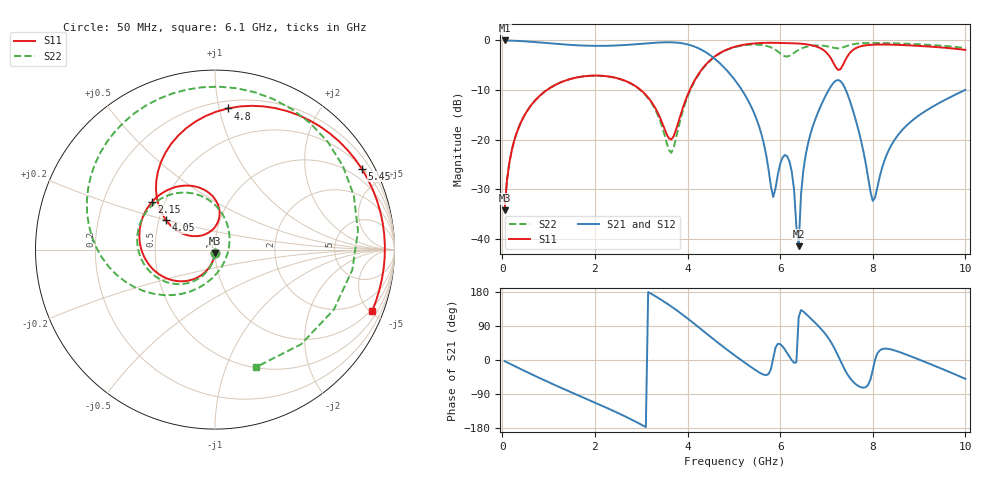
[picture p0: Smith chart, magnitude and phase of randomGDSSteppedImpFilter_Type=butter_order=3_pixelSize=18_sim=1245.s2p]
! freq	dB(S11)	phase(S11)	dB(S12)	phase(S12)
!  dB(S21)	phase(S21)	dB(S22)	phase(S22)
!S-par simulation data
#  GHz  S  DB  R 50
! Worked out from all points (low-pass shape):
!   200 points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, 50 MHz to 10 GHz, reference 50 ohm
!   highest |S21| = -0.01 dB at 50 MHz (marker M1); lowest = -41.5 dB at 6.4 GHz (marker M2)
!   |S21| within 3 dB of the highest: start of sweep to 4.493 GHz
!   lowest |S11| = -34.3 dB at 50 MHz (marker M3), VSWR 1.04, Z = 49.9 - j1.92 ohm
!   |S11| at or under -10 dB: start of sweep to 962.6 MHz; 2.99 GHz to 4.049 GHz (1.059 GHz wide, 30.1 % of centre)
!   |S22| runs from -34.3 to -0.5 dB; largest |S21 - S12| = 0
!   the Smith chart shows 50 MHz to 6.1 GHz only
!   S11 on the Smith chart (normalised r, x): 50 MHz: 1.00, -0.04; 2.15 GHz: 0.43, +0.28; 4.05 GHz: 0.55, +0.20; 4.8 GHz: 0.25, +1.06; 5.45 GHz: 0.54, +3.81; 6.1 GHz: 0.87, -5.16
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0.05  -34.29 -93.1  -0.01 -3.1  -0.01 -3.1  -34.28 -92.8
0.5  -14.77 -122.0  -0.19 -30.0  -0.19 -30.0  -14.77 -119.0
1.75  -7.25 165.1  -1.04 -99.1  -1.04 -99.1  -7.25 175.6
2.15  -7.13 142.8  -1.10 -120.5  -1.10 -120.5  -7.13 155.3
3.4  -15.45 82.7  -0.41 161.3  -0.41 161.3  -16.02 64.9
3.65  -19.98 120.1  -0.38 141.2  -0.38 141.2  -22.66 -20.2
4.05  -9.97 149.1  -0.92 105.0  -0.92 105.0  -10.23 -126.8
4.8  -2.05 84.7  -5.55 32.1  -5.55 32.1  -2.10 154.2
5.05  -1.21 62.4  -8.33 9.3  -8.33 9.3  -1.29 130.3
5.45  -0.60 28.9  -14.93 -25.2  -14.93 -25.2  -0.84 88.5
5.9  -0.49 -6.2  -29.82 33.0  -29.82 33.0  -1.90 7.5
6.1  -0.53 -21.4  -23.11 27.9  -23.11 27.9  -3.18 -70.7
6.4  -0.63 -45.5  -41.48 113.2  -41.48 113.2  -1.90 170.9
6.5  -0.71 -54.4  -26.28 128.0  -26.28 128.0  -1.47 148.1
6.7  -1.01 -74.8  -17.48 105.0  -17.48 105.0  -1.07 116.5
6.95  -2.04 -112.0  -11.76 72.7  -11.76 72.7  -1.08 89.7
7.15  -4.51 -172.4  -8.56 35.9  -8.56 35.9  -1.46 74.7
7.35  -5.06 67.4  -8.73 -14.8  -8.73 -14.8  -1.41 65.8
7.55  -2.09 -7.1  -13.45 -53.9  -13.45 -53.9  -0.82 54.0
8  -0.86 -68.3  -32.35 -26.4  -32.35 -26.4  -0.51 26.1
8.35  -0.84 -93.7  -22.03 29.0  -22.03 29.0  -0.55 6.8
10  -1.91 176.2  -9.96 -49.7  -9.96 -49.7  -1.54 -74.9
